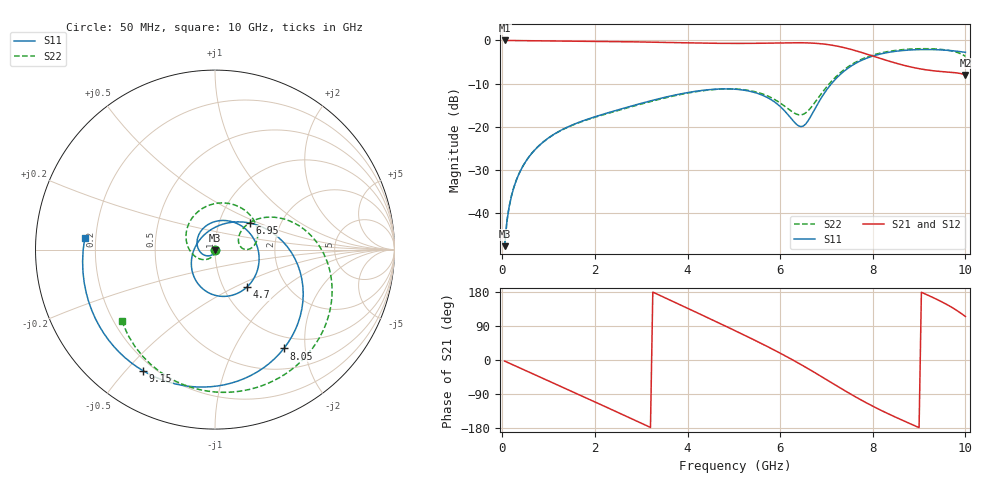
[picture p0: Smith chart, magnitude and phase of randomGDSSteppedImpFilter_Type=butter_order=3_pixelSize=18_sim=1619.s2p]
! freq	dB(S11)	phase(S11)	dB(S12)	phase(S12)
!  dB(S21)	phase(S21)	dB(S22)	phase(S22)
!S-par simulation data
#  GHz  S  DB  R 50
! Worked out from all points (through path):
!   200 points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, 50 MHz to 10 GHz, reference 50 ohm
!   highest |S21| = -0.01 dB at 50 MHz (marker M1); lowest = -8.0 dB at 10 GHz (marker M2)
!   group delay of S21, straight-line fit = 169 ps
!   lowest |S11| = -47.6 dB at 50 MHz (marker M3), VSWR 1.01, Z = 50 - j0.415 ohm
!   |S11| at or under -10 dB: start of sweep to 7.11 GHz
!   |S22| runs from -47.6 to -1.9 dB; largest |S21 - S12| = 0
!   S11 on the Smith chart (normalised r, x): 50 MHz: 1.00, -0.01; 4.7 GHz: 1.29, -0.58; 6.95 GHz: 1.40, +0.44; 8.05 GHz: 0.81, -1.61; 9.15 GHz: 0.16, -0.56; 10 GHz: 0.16, +0.04
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0.05  -47.64 -88.5  -0.01 -2.8  -0.01 -2.8  -47.63 -87.0
0.1  -41.86 -94.2  -0.01 -5.6  -0.01 -5.6  -41.83 -91.5
0.2  -35.93 -102.8  -0.02 -11.1  -0.02 -11.1  -35.90 -97.3
0.5  -28.14 -124.9  -0.04 -27.7  -0.04 -27.7  -28.12 -111.2
1.15  -21.51 -171.5  -0.11 -63.6  -0.11 -63.6  -21.54 -138.0
1.75  -18.58 144.4  -0.17 -96.8  -0.17 -96.8  -18.67 -160.6
2.65  -15.61 77.8  -0.29 -147.0  -0.29 -147.0  -15.76 165.9
3.4  -13.45 26.9  -0.43 170.7  -0.43 170.7  -13.61 132.7
4.1  -11.90 -15.2  -0.58 130.8  -0.58 130.8  -12.01 95.9
4.7  -11.24 -49.1  -0.67 96.4  -0.67 96.4  -11.27 62.0
5.05  -11.31 -69.1  -0.69 76.0  -0.69 76.0  -11.26 42.3
5.5  -12.22 -97.2  -0.66 49.2  -0.66 49.2  -12.00 18.6
6  -15.30 -138.3  -0.57 18.1  -0.57 18.1  -14.48 0.7
6.45  -19.96 139.1  -0.53 -12.0  -0.53 -12.0  -17.24 16.6
6.7  -16.84 75.5  -0.62 -29.8  -0.62 -29.8  -15.08 34.9
6.95  -12.28 37.6  -0.85 -48.1  -0.85 -48.1  -11.48 37.0
7.45  -6.54 -10.9  -1.85 -84.8  -1.85 -84.8  -6.23 15.7
8.05  -3.46 -55.1  -3.78 -125.0  -3.78 -125.0  -3.25 -18.5
8.35  -2.74 -74.0  -4.79 -142.8  -4.79 -142.8  -2.54 -34.8
9.15  -2.10 -120.7  -6.81 173.3  -6.81 173.3  -1.91 -76.1
9.65  -2.32 -153.7  -7.34 143.0  -7.34 143.0  -2.32 -106.6
10  -2.75 175.0  -7.98 114.8  -7.98 114.8  -3.68 -142.3
